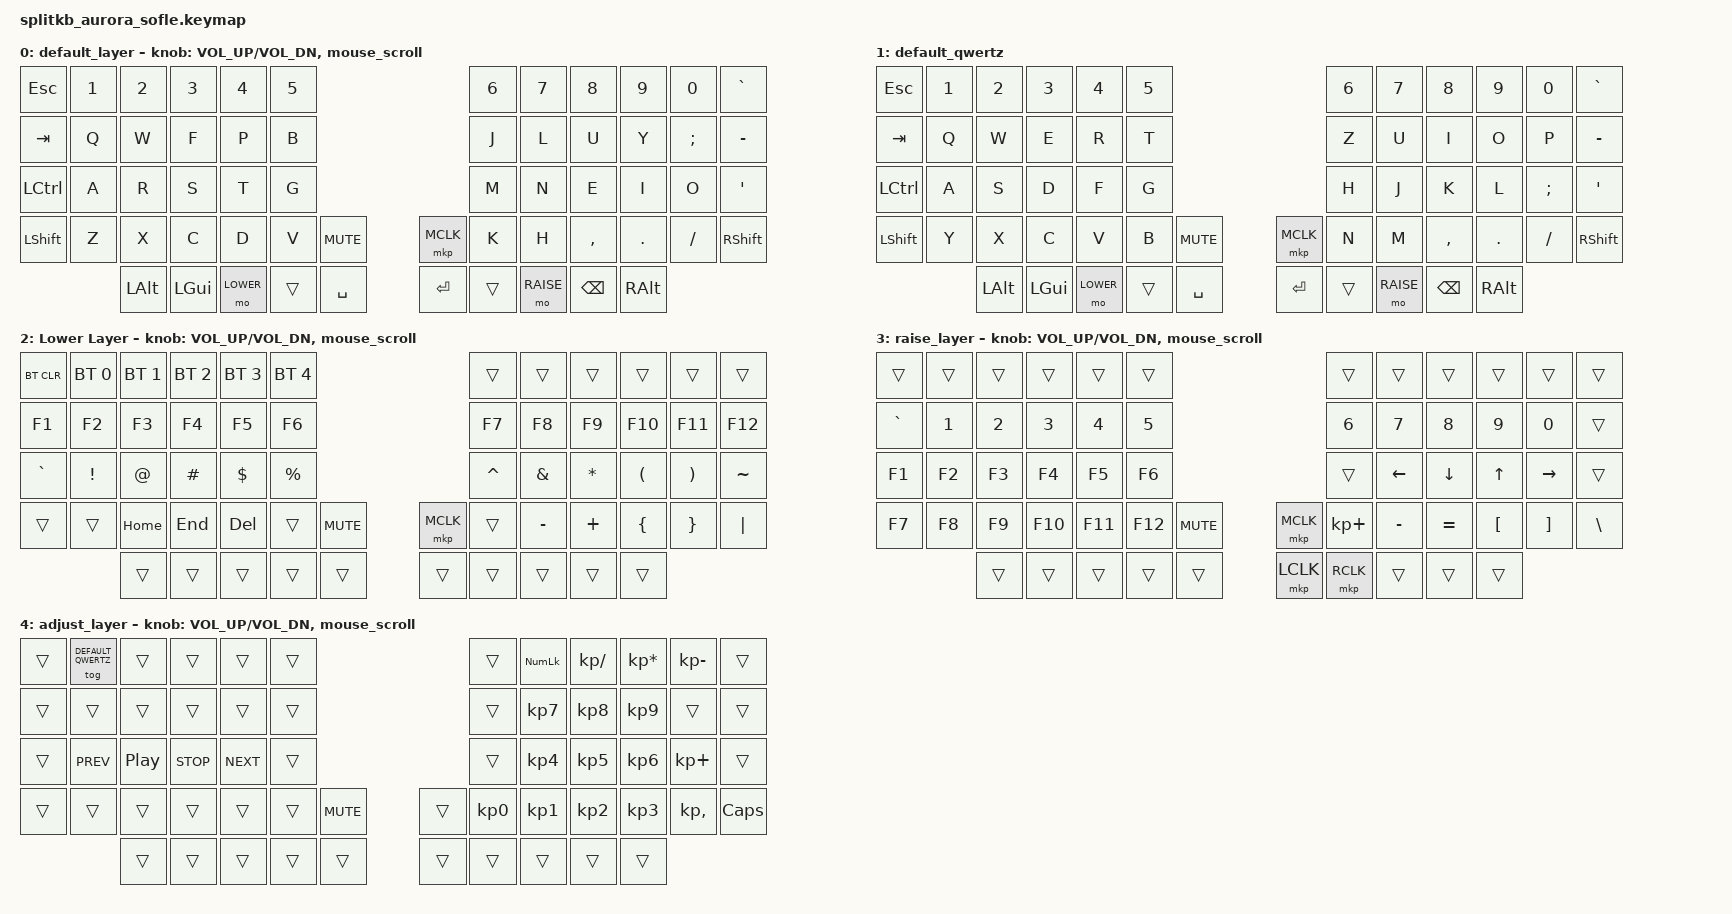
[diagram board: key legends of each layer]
/*
 * Copyright (c) 2023 The ZMK Contributors
 *
 * SPDX-License-Identifier: MIT
 */

#define ZMK_POINTING_DEFAULT_SCRL_VAL 140

#include <behaviors.dtsi>
#include <dt-bindings/zmk/keys.h>
#include <dt-bindings/zmk/bt.h>
#include <dt-bindings/zmk/ext_power.h>
#include <dt-bindings/zmk/pointing.h>

#define DEFAULT 0
#define DEFAULT_QWERTZ 1
#define LOWER 1
#define RAISE 2
#define ADJUST 4

/ { 
    behaviours {
        mouse_scroll: mouse_scroll {
        	compatible = "zmk,behavior-sensor-rotate";
            tap-ms = <20>;
        	#sensor-binding-cells = <0>;
                bindings = <&msc SCRL_UP>, <&msc SCRL_DOWN>;
		};
    };

	conditional_layers {
        compatible = "zmk,conditional-layers";
        tri_layer {
            if-layers = <2 3>;
            then-layer = <4>;
        };
    };

    keymap {
        compatible = "zmk,keymap";

        default_layer {
// ------------------------------------------------------------------------------------------------------------
// |  ESC  |  1  |  2  |  3   |  4   |  5   |                   |  6   |  7    |  8    |  9   |   0   |   `   |
// |  TAB  |  Q  |  W  |  F   |  P   |  B   |                   |  J   |  L    |  U    |  Y   |   ;   |   -   |
// |  CTRL |  A  |  R  |  S   |  T   |  G   |                   |  M   |  N    |  E    |  I   |   O   |   '   |
// | SHIFT |  Z  |  X  |  C   |  D   |  V   |                   |  K   |  H    |  ,    |  .   |   /   | SHIFT |
//               | ALT  | GUI | LOWER|  ?   | SPACE |   | ENTER |  ?   | RAISE | BSPC  | RALT  |

            bindings = <
&kp ESC    &kp N1  &kp N2   &kp N3    &kp N4    &kp N5                                 &kp N6    &kp N7    &kp N8     &kp N9   &kp N0         &kp GRAVE
&kp TAB    &kp Q   &kp W    &kp F     &kp P     &kp B                                  &kp J     &kp L     &kp U      &kp Y    &kp SEMICOLON  &kp MINUS
&kp LCTRL  &kp A   &kp R    &kp S     &kp T     &kp G                                  &kp M     &kp N     &kp E      &kp I    &kp O          &kp SQT
&kp LSHFT  &kp Z   &kp X    &kp C     &kp D     &kp V  &kp C_MUTE            &mkp MCLK &kp K     &kp H     &kp COMMA  &kp DOT  &kp FSLH       &kp RSHFT
                   &kp LALT &kp LGUI  &mo LOWER &trans &kp SPACE             &kp RET   &trans    &mo RAISE &kp BSPC   &kp RALT
            >;

            sensor-bindings = <&inc_dec_kp C_VOL_UP C_VOL_DN &mouse_scroll>;
        };

        default_qwertz {
// ------------------------------------------------------------------------------------------------------------
// |  ESC  |  1  |  2  |  3   |  4   |  5   |                   |  6   |  7    |  8    |  9   |   0   |   `   |
// |  TAB  |  Q  |  W  |  E   |  R   |  T   |                   |  Z   |  U    |  I    |  O   |   P   |   -   |
// |  CTRL |  A  |  S  |  D   |  F   |  G   |                   |  H   |  J    |  K    |  L   |   ;   |   '   |
// | SHIFT |  Z  |  X  |  C   |  V   |  B   |   "["  |  |  "]"  |  N   |  M    |  ,    |  .   |   /   | SHIFT |
//                     | ALT  | GUI  | LOWER|  SPACE |  | ENTER | RAISE| BSPC  | GUI   |
            bindings = <
&kp ESC   &kp N1 &kp N2   &kp N3    &kp N4    &kp N5                           &kp N6 &kp N7   &kp N8    &kp N9  &kp N0   &kp GRAVE
&kp TAB   &kp Q  &kp W    &kp E     &kp R     &kp T                            &kp Z  &kp U    &kp I     &kp O   &kp P    &kp MINUS
&kp LCTRL &kp A  &kp S    &kp D     &kp F     &kp G                            &kp H  &kp J    &kp K     &kp L   &kp SEMI &kp SQT
&kp LSHFT &kp Y  &kp X    &kp C     &kp V     &kp B  &kp C_MUTE      &mkp MCLK &kp N  &kp M    &kp COMMA &kp DOT &kp FSLH &kp RSHFT
                 &kp LALT &kp LGUI  &mo LOWER &trans &kp SPACE       &kp RET &trans &mo RAISE &kp BSPC   &kp RALT
            >;
        };        

        lower_layer {
            display-name = "Lower Layer";
// ------------------------------------------------------------------------------------------------------------
// | BTCLR | BT1 | BT2 |  BT3 |  BT4 |  BT5 |                   |      |       |       |      |       |       |
// |  F1   |  F2 |  F3 |  F4  |  F5  |  F6  |                   |  F7  |  F8   |  F9   |  F10 |  F11  |  F12  |
// |   `   |  !  |  @  |  #   |  $   |  %   |                   |  ^   |  &    |  *    |  (   |   )   |   ~   |
// |       |     | HOME|  END |  DEL |      |        |  |       |      |  _    |  +    |  {   |   }   |  "|"  |
//               |     |      |      |      |        |  |       |      |       |       |      |
            bindings = <
&bt BT_CLR &bt BT_SEL 0 &bt BT_SEL 1      &bt BT_SEL 2      &bt BT_SEL 3 &bt BT_SEL 4                   &trans    &trans    &trans    &trans    &trans    &trans
&kp F1     &kp F2       &kp F3            &kp F4            &kp F5       &kp F6                         &kp F7    &kp F8    &kp F9    &kp F10   &kp F11   &kp F12
&kp GRAVE  &kp EXCL     &kp AT            &kp HASH          &kp DOLLAR   &kp PRCNT                      &kp CARET &kp AMPS  &kp STAR  &kp LPAR  &kp RPAR  &kp TILDE
&trans     &trans       &kp HOME          &kp END           &kp DELETE   &trans    &kp C_MUTE &mkp MCLK &trans    &kp MINUS &kp PLUS  &kp LBRC  &kp RBRC  &kp PIPE
                        &trans            &trans            &trans       &trans    &trans     &trans    &trans    &trans    &trans    &trans
            >;

            sensor-bindings = <&inc_dec_kp C_VOL_UP C_VOL_DN &mouse_scroll>;
        };

        raise_layer {
// ------------------------------------------------------------------------------------------------------------
// |       |     |     |      |      |      |                   |      |       |       |      |       |       |
// |   `   |  1  |  2  |  3   |  4   |  5   |                   |  6   |   7   |   8   |  9   |   0   |       |
// |   F1  |  F2 |  F3 |  F4  |  F5  |  F6  |                   |      |   <-  |   v   |  ^   |  ->   |       |
// |   F7  |  F8 |  F9 |  F10 |  F11 |  F12 |        |  |       |  +   |   -   |   =   |  [   |   ]   |   \   |
//               |     |      |      |      |        |  |       |      |       |       |      |
            bindings = <
&trans    &trans &trans &trans  &trans  &trans                       &trans      &trans    &trans    &trans   &trans    &trans
&kp GRAVE &kp N1 &kp N2 &kp N3  &kp N4  &kp N5                       &kp N6      &kp N7    &kp N8    &kp N9   &kp N0    &trans
&kp F1    &kp F2 &kp F3 &kp F4  &kp F5  &kp F6                       &trans      &kp LEFT  &kp DOWN  &kp UP   &kp RIGHT &trans
&kp F7    &kp F8 &kp F9 &kp F10 &kp F11 &kp F12 &kp C_MUTE &mkp MCLK &kp KP_PLUS &kp MINUS &kp EQUAL &kp LBKT &kp RBKT  &kp BSLH
                 &trans &trans  &trans  &trans  &trans     &mkp LCLK &mkp RCLK   &trans    &trans    &trans
            >;

            sensor-bindings = <&inc_dec_kp C_VOL_UP C_VOL_DN &mouse_scroll>;
        };

        adjust_layer {
// ------------------------------------------------------------------------------------------------------------
// |       |T_QWE|     |      |      |      |                   |      |       |   /   |   *  |   -   |       |
// |       |     |     |      |      |      |                   |      |   7   |   8   |   9  |       |       |
// |       |PREV |PL/PA| STOP | NEXT |      |        |  |       |      |   4   |   5   |   6  |   +   |       |
// |       |     |     |      |      |      |        |  |       |   0  |   1   |   2   |   3  |   ,   |  CAPS |
//                     |      |      |      |        |  |       |      |       |       |

            bindings = <
&trans  &tog DEFAULT_QWERTZ &trans            &trans      &trans      &trans                     &trans        &kp KP_NUM  &kp KP_DIVIDE   &kp KP_MULTIPLY     &kp KP_MINUS  &trans
&trans  &trans              &trans            &trans      &trans      &trans                     &trans        &kp KP_N7   &kp KP_N8       &kp KP_N9           &trans        &trans
&trans  &kp C_PREV          &kp C_PLAY_PAUSE  &kp C_STOP  &kp C_NEXT  &trans                     &trans        &kp KP_N4   &kp KP_N5       &kp KP_N6           &kp KP_PLUS   &trans
&trans  &trans              &trans            &trans      &trans      &trans &kp C_MUTE   &trans &kp KP_N0     &kp KP_N1   &kp KP_N2       &kp KP_N3           &kp KP_COMMA  &kp CAPS
                                      &trans  &trans      &trans      &trans &trans       &trans &trans        &trans      &trans          &trans
            >;

            sensor-bindings = <&inc_dec_kp C_VOL_UP C_VOL_DN &mouse_scroll>;
        };
    };
};
